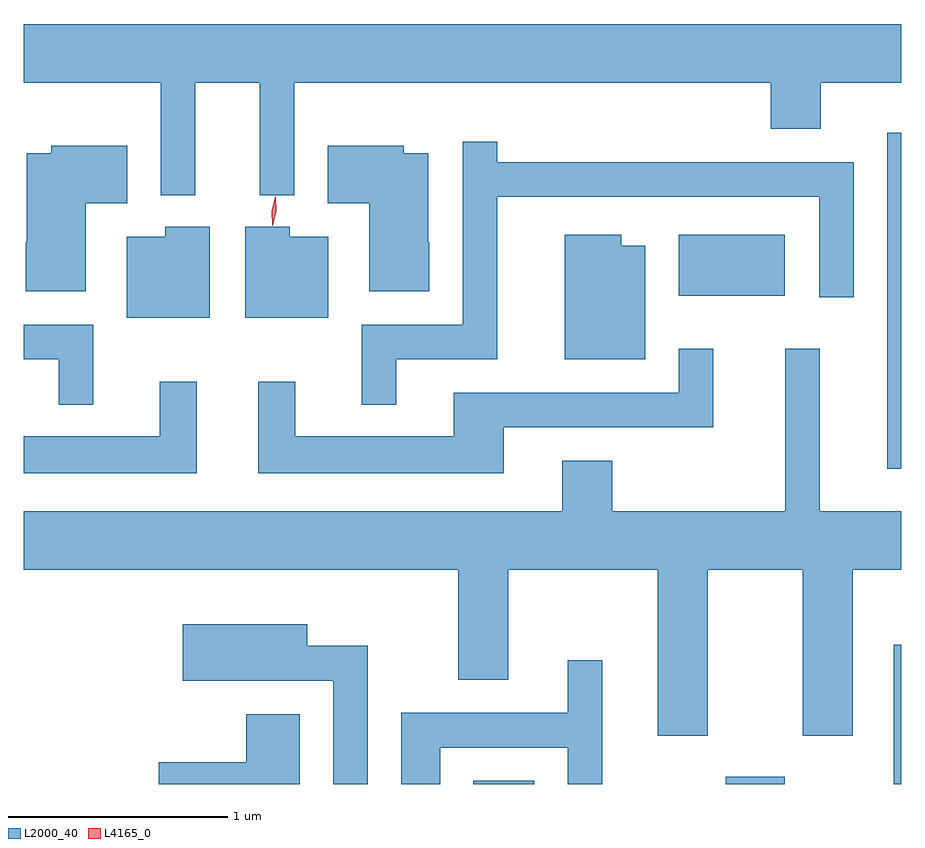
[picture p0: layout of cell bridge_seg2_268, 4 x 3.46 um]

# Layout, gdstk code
import gdstk
lib = gdstk.Library(unit=1e-6, precision=1e-09)
def R(c, l, rs):  # rectangles x0, y0, x1, y1
    for r in rs: c.add(gdstk.rectangle(r[:2], r[2:], *l))
def P(c, l, *ps):  # polygons
    for p in ps: c.add(gdstk.Polygon(p, *l))
L2000_40 = (2000, 40)
L4165_0 = (4165, 0)

bridge_seg2_268 = lib.new_cell('bridge_seg2_268')
R(bridge_seg2_268, L2000_40, [(560.061,1082.86,560.339,1082.874), (561.211,1082.86,561.479,1082.894), (561.976,1082.86,562.011,1083.494), (561.946,1084.296,562.011,1085.829), (560.996,1085.086,561.479,1085.364)])
P(bridge_seg2_268, L2000_40, [(558.794,1086.056),(559.086,1086.056),(559.086,1085.543),(559.244,1085.543),(559.244,1086.056),(561.416,1086.056),(561.416,1085.846),(561.644,1085.846),(561.644,1086.056),(562.011,1086.056),(562.011,1086.324),(558.011,1086.324),(558.011,1086.056),(558.636,1086.056),(558.636,1085.543),(558.794,1085.543)],
  [(559.709,1084.796),(560.169,1084.796),(560.169,1085.536),(561.636,1085.536),(561.636,1085.078),(561.794,1085.078),(561.794,1085.694),(560.169,1085.694),(560.169,1085.788),(560.011,1085.788),(560.011,1084.954),(559.551,1084.954),(559.551,1084.588),(559.709,1084.588)],
  [(558.294,1085.506),(558.484,1085.506),(558.484,1085.769),(558.136,1085.769),(558.136,1085.734),(558.026,1085.734),(558.026,1085.33),(558.021,1085.33),(558.021,1085.106),(558.294,1085.106)],
  [(559.859,1085.33),(559.854,1085.33),(559.854,1085.734),(559.744,1085.734),(559.744,1085.769),(559.396,1085.769),(559.396,1085.506),(559.586,1085.506),(559.586,1085.106),(559.859,1085.106)],
  [(559.399,1085.354),(559.224,1085.354),(559.224,1085.399),(559.021,1085.399),(559.021,1084.986),(559.399,1084.986)],
  [(558.859,1085.399),(558.656,1085.399),(558.656,1085.354),(558.481,1085.354),(558.481,1084.986),(558.859,1084.986)],
  [(560.844,1085.314),(560.734,1085.314),(560.734,1085.364),(560.476,1085.364),(560.476,1084.796),(560.844,1084.796)],
  [(558.329,1084.954),(558.011,1084.954),(558.011,1084.796),(558.171,1084.796),(558.171,1084.588),(558.329,1084.588)],
  [(560.199,1084.486),(561.154,1084.486),(561.154,1084.843),(560.996,1084.843),(560.996,1084.644),(559.971,1084.644),(559.971,1084.444),(559.249,1084.444),(559.249,1084.693),(559.081,1084.693),(559.081,1084.276),(560.199,1084.276)],
  [(561.129,1083.836),(561.561,1083.836),(561.561,1083.081),(561.789,1083.081),(561.789,1083.836),(562.011,1083.836),(562.011,1084.104),(561.639,1084.104),(561.639,1084.843),(561.481,1084.843),(561.481,1084.104),(560.694,1084.104),(560.694,1084.334),(560.466,1084.334),(560.466,1084.104),(558.011,1084.104),(558.011,1083.836),(559.991,1083.836),(559.991,1083.336),(560.219,1083.336),(560.219,1083.836),(560.901,1083.836),(560.901,1083.081),(561.129,1083.081)],
  [(558.799,1084.693),(558.631,1084.693),(558.631,1084.444),(558.011,1084.444),(558.011,1084.276),(558.799,1084.276)],
  [(559.579,1083.489),(559.304,1083.489),(559.304,1083.589),(558.736,1083.589),(558.736,1083.331),(559.421,1083.331),(559.421,1082.86),(559.579,1082.86)],
  [(559.909,1083.026),(560.491,1083.026),(560.491,1082.86),(560.649,1082.86),(560.649,1083.423),(560.491,1083.423),(560.491,1083.184),(559.731,1083.184),(559.731,1082.86),(559.909,1082.86)],
  [(559.269,1083.179),(559.026,1083.179),(559.026,1082.959),(558.626,1082.959),(558.626,1082.86),(559.269,1082.86)])
P(bridge_seg2_268, L4165_0, [(559.145,1085.404),(559.144,1085.405),(559.142,1085.472),(559.158,1085.537),(559.158,1085.537),(559.159,1085.537),(559.162,1085.47),(559.145,1085.405)])

lib.write_gds('bridge_seg2_268.gds')
